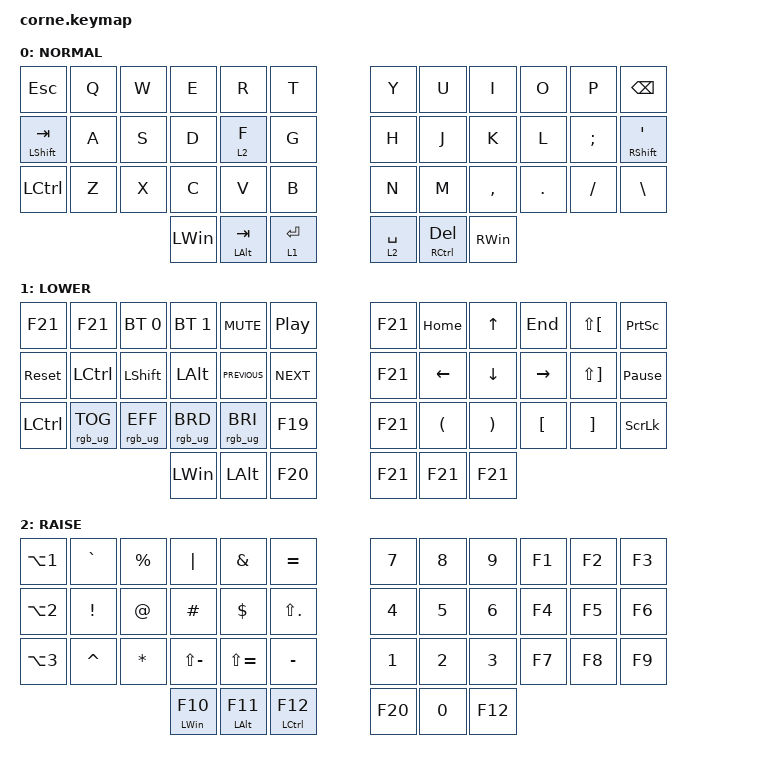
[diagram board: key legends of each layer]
/*
 * Copyright (c) 2020 The ZMK Contributors
 *
 * SPDX-License-Identifier: MIT
 */

#include <dt-bindings/led/led.h>
#include <dt-bindings/zmk/reset.h>
#include <behaviors.dtsi>
#include <dt-bindings/zmk/bt.h>
#include <dt-bindings/zmk/keys.h>
#include <dt-bindings/zmk/rgb.h>

&led_strip { chain-length = <27>; };

/ {
    keymap {
        compatible = "zmk,keymap";

        default_layer {
            display-name = "NORMAL";
            bindings = <
&kp ESC        &kp Q  &kp W  &kp E     &kp R             &kp T        &kp Y        &kp U          &kp I      &kp O    &kp P     &kp BSPC
&mt LSHFT TAB  &kp A  &kp S  &kp D     &lt 2 F           &kp G        &kp H        &kp J          &kp K      &kp L    &kp SEMI  &mt RSHFT SQT
&kp LCTRL      &kp Z  &kp X  &kp C     &kp V             &kp B        &kp N        &kp M          &kp COMMA  &kp DOT  &kp FSLH  &kp BSLH
                             &kp LWIN  &mt LEFT_ALT TAB  &lt 1 RET    &lt 2 SPACE  &mt RCTRL DEL  &kp RWIN
            >;
        };

        lower_layer {
            display-name = "LOWER";
            bindings = <
&kp F21     &kp F21          &bt BT_SEL 0     &bt BT_SEL 1     &kp C_MUTE       &kp C_PLAY_PAUSE    &kp F21  &kp HOME  &kp UP    &kp END    &kp LS(LBKT)  &kp PRINTSCREEN
&sys_reset  &kp LCTRL        &kp LSHFT        &kp LALT         &kp C_PREVIOUS   &kp C_NEXT          &kp F21  &kp LEFT  &kp DOWN  &kp RIGHT  &kp LS(RBKT)  &kp PAUSE_BREAK
&kp LCTRL   &rgb_ug RGB_TOG  &rgb_ug RGB_EFF  &rgb_ug RGB_BRD  &rgb_ug RGB_BRI  &kp F19             &kp F21  &kp LPAR  &kp RPAR  &kp LBKT   &kp RBKT      &kp SCROLLLOCK
                                              &kp LEFT_WIN     &kp LEFT_ALT     &kp F20             &kp F21  &kp F21   &kp F21
            >;
        };

        raise_layer {
            display-name = "RAISE";
            bindings = <
&kp LA(NUMBER_1)  &kp GRAVE  &kp PRCNT  &kp PIPE          &kp AMPS          &kp EQUAL        &kp NUMBER_7  &kp N8  &kp N9        &kp F1  &kp F2  &kp F3
&kp LA(N2)        &kp EXCL   &kp AT     &kp HASH          &kp DLLR          &kp LS(DOT)      &kp N4        &kp N5  &kp NUMBER_6  &kp F4  &kp F5  &kp F6
&kp LA(NUMBER_3)  &kp CARET  &kp ASTRK  &kp LS(MINUS)     &kp LS(EQUAL)     &kp MINUS        &kp N1        &kp N2  &kp N3        &kp F7  &kp F8  &kp F9
                                        &mt LEFT_WIN F10  &mt LEFT_ALT F11  &mt LCTRL F12    &kp F20       &kp N0  &kp F12
            >;
        };

        extra_1 { status = "reserved"; };

        extra_2 { status = "reserved"; };

        extra_3 { status = "reserved"; };
    };
};
